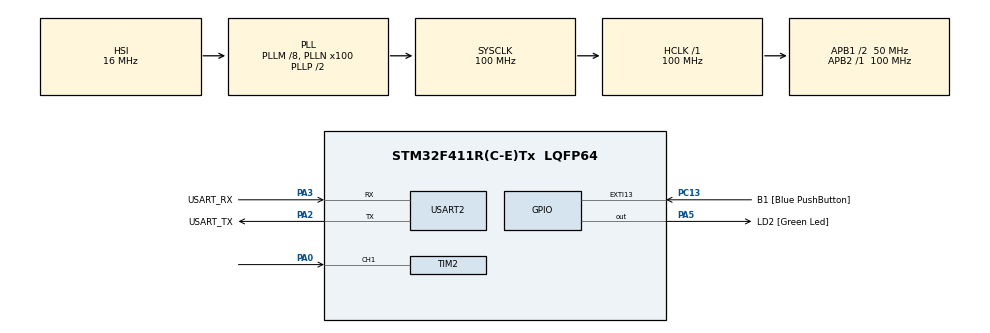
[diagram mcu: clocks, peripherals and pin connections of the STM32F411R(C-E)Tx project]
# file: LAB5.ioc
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Dma.Request0=TIM2_CH1
Dma.TIM2_CH1.0.Direction=DMA_PERIPH_TO_MEMORY
Dma.TIM2_CH1.0.FIFOMode=DMA_FIFOMODE_DISABLE
Dma.TIM2_CH1.0.Instance=DMA1_Stream5
Dma.TIM2_CH1.0.MemDataAlignment=DMA_MDATAALIGN_HALFWORD
Dma.TIM2_CH1.0.MemInc=DMA_MINC_ENABLE
Dma.TIM2_CH1.0.Mode=DMA_CIRCULAR
Dma.TIM2_CH1.0.PeriphDataAlignment=DMA_PDATAALIGN_HALFWORD
Dma.TIM2_CH1.0.PeriphInc=DMA_PINC_DISABLE
Dma.TIM2_CH1.0.Priority=DMA_PRIORITY_LOW
Mcu.Family=STM32F4
Mcu.Name=STM32F411R(C-E)Tx
Mcu.Package=LQFP64
NVIC.DMA1_Stream5_IRQn=true\:0\:0\:false\:false\:true\:false\:true
NVIC.PriorityGroup=NVIC_PRIORITYGROUP_0
NVIC.TIM5_IRQn=true\:0\:0\:false\:false\:true\:true\:true
PA0-WKUP.Signal=S_TIM2_CH1_ETR
PA13.GPIO_Label=TMS
PA13.Mode=Serial_Wire
PA13.Signal=SYS_JTMS-SWDIO
PA14.GPIO_Label=TCK
PA14.Mode=Serial_Wire
PA14.Signal=SYS_JTCK-SWCLK
PA2.GPIO_Label=USART_TX
PA2.Mode=Asynchronous
PA2.Signal=USART2_TX
PA3.GPIO_Label=USART_RX
PA3.Mode=Asynchronous
PA3.Signal=USART2_RX
PA5.GPIO_Label=LD2 [Green Led]
PA5.Signal=GPIO_Output
PB3.GPIO_Label=SWO
PB3.Signal=SYS_JTDO-SWO
PC13-ANTI_TAMP.GPIO_Label=B1 [Blue PushButton]
PC13-ANTI_TAMP.GPIO_ModeDefaultEXTI=GPIO_MODE_IT_FALLING
PC13-ANTI_TAMP.Signal=GPXTI13
PC14-OSC32_IN.Mode=LSE-External-Oscillator
PC14-OSC32_IN.Signal=RCC_OSC32_IN
PC15-OSC32_OUT.Mode=LSE-External-Oscillator
PC15-OSC32_OUT.Signal=RCC_OSC32_OUT
PH0\ -\ OSC_IN.Mode=HSE-External-Clock-Source
PH0\ -\ OSC_IN.Signal=RCC_OSC_IN
PH1\ -\ OSC_OUT.Mode=HSE-External-Clock-Source
PH1\ -\ OSC_OUT.Signal=RCC_OSC_OUT
ProjectManager.HeapSize=0x200
ProjectManager.StackSize=0x400
ProjectManager.TargetToolchain=STM32CubeIDE
RCC.48MHZClocksFreq_Value=50000000
RCC.AHBFreq_Value=100000000
RCC.APB1CLKDivider=RCC_HCLK_DIV2
RCC.APB1Freq_Value=50000000
RCC.APB1TimFreq_Value=100000000
RCC.APB2Freq_Value=100000000
RCC.APB2TimFreq_Value=100000000
RCC.CortexFreq_Value=100000000
RCC.FLatency-AdvancedSettings=FLASH_LATENCY_3
RCC.HCLKFreq_Value=100000000
RCC.HSE_VALUE=8000000
RCC.HSI_VALUE=16000000
RCC.PLLM=8
RCC.PLLN=100
RCC.SYSCLKFreq_VALUE=100000000
RCC.SYSCLKSource=RCC_SYSCLKSOURCE_PLLCLK
RCC.VCOOutputFreq_Value=200000000
SH.S_TIM2_CH1_ETR.0=TIM2_CH1,Input_Capture1_from_TI1
TIM2.Channel-Input_Capture1_from_TI1=TIM_CHANNEL_1
TIM2.ICFilter_CH1=2
TIM2.Prescaler=99
TIM5.Prescaler=99
USART2.VirtualMode=VM_ASYNC
VP_TIM2_VS_ClockSourceINT.Mode=Internal
VP_TIM5_VS_ClockSourceINT.Mode=Internal
board=NUCLEO-F411RE

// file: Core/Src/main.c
/* USER CODE BEGIN Header */
/**
  ******************************************************************************
  * @file           : main.c
  * @brief          : Main program body
  ******************************************************************************
  * @attention
  *
  * <h2><center>&copy; Copyright (c) 2021 STMicroelectronics.
  * All rights reserved.</center></h2>
  *
  * This software component is licensed by ST under BSD 3-Clause license,
  * the "License"; You may not use this file except in compliance with the
  * License. You may obtain a copy of the License at:
  *                        opensource.org/licenses/BSD-3-Clause
  *
  ******************************************************************************
  */
/* USER CODE END Header */
#include "main.h"

/* USER CODE BEGIN PD */
#define CAPTURENUM 16

/* USER CODE END PD */

TIM_HandleTypeDef htim2;
TIM_HandleTypeDef htim5;
DMA_HandleTypeDef hdma_tim2_ch1;

UART_HandleTypeDef huart2;

/* USER CODE BEGIN PV */
uint16_t capturedata[CAPTURENUM] = { 0 };
//diff time of capture data
int32_t DiffTime[CAPTURENUM-1] = { 0 };
uint32_t DiffTime2[CAPTURENUM-1] = { 0 } ;

//Mean difftime
double MeanTime =0;
int RPM = 0 ;
int64_t A = 0 ;
uint16_t RPM2 = 0 ;

uint64_t _micros = 0 ;

/* USER CODE END PV */

void SystemClock_Config(void);
static void MX_GPIO_Init(void);
static void MX_DMA_Init(void);
static void MX_USART2_UART_Init(void);
static void MX_TIM2_Init(void);
static void MX_TIM5_Init(void);
/* USER CODE BEGIN PFP */

void read_RPM();
void reard_RPM2() ;
void encoderSpeedReaderCycle();
uint64_t micros();

/* USER CODE END PFP */

int main(void)
{

  /* MCU Configuration--------------------------------------------------------*/

  /* Reset of all peripherals, Initializes the Flash interface and the Systick. */
  HAL_Init();

  /* Configure the system clock */
  SystemClock_Config();

  /* Initialize all configured peripherals */
  MX_GPIO_Init();
  MX_DMA_Init();
  MX_USART2_UART_Init();
  MX_TIM2_Init();
  MX_TIM5_Init();
  /* USER CODE BEGIN 2 */
  HAL_TIM_Base_Start_IT(&htim5);

  HAL_TIM_Base_Start(&htim2);
  HAL_TIM_IC_Start_DMA(&htim2, TIM_CHANNEL_1,(uint32_t*) &capturedata, CAPTURENUM);

  uint64_t timestamp =0;
  /* USER CODE END 2 */

  /* Infinite loop */
  /* USER CODE BEGIN WHILE */
  while (1)
  {
	encoderSpeedReaderCycle();
	read_RPM();

	if(micros()-timestamp > 100000)
	{
	timestamp = micros();
	HAL_GPIO_TogglePin(LD2_GPIO_Port,LD2_Pin);
	}
    /* USER CODE END WHILE */

  }
}

void SystemClock_Config(void)
{
  RCC_OscInitTypeDef RCC_OscInitStruct = {0};
  RCC_ClkInitTypeDef RCC_ClkInitStruct = {0};

  /** Configure the main internal regulator output voltage
  */
  __HAL_RCC_PWR_CLK_ENABLE();
  __HAL_PWR_VOLTAGESCALING_CONFIG(PWR_REGULATOR_VOLTAGE_SCALE1);
  /** Initializes the RCC Oscillators according to the specified parameters
  * in the RCC_OscInitTypeDef structure.
  */
  RCC_OscInitStruct.OscillatorType = RCC_OSCILLATORTYPE_HSI;
  RCC_OscInitStruct.HSIState = RCC_HSI_ON;
  RCC_OscInitStruct.HSICalibrationValue = RCC_HSICALIBRATION_DEFAULT;
  RCC_OscInitStruct.PLL.PLLState = RCC_PLL_ON;
  RCC_OscInitStruct.PLL.PLLSource = RCC_PLLSOURCE_HSI;
  RCC_OscInitStruct.PLL.PLLM = 8;
  RCC_OscInitStruct.PLL.PLLN = 100;
  RCC_OscInitStruct.PLL.PLLP = RCC_PLLP_DIV2;
  RCC_OscInitStruct.PLL.PLLQ = 4;
  if (HAL_RCC_OscConfig(&RCC_OscInitStruct) != HAL_OK)
  {
    Error_Handler();
  }
  /** Initializes the CPU, AHB and APB buses clocks
  */
  RCC_ClkInitStruct.ClockType = RCC_CLOCKTYPE_HCLK|RCC_CLOCKTYPE_SYSCLK
                              |RCC_CLOCKTYPE_PCLK1|RCC_CLOCKTYPE_PCLK2;
  RCC_ClkInitStruct.SYSCLKSource = RCC_SYSCLKSOURCE_PLLCLK;
  RCC_ClkInitStruct.AHBCLKDivider = RCC_SYSCLK_DIV1;
  RCC_ClkInitStruct.APB1CLKDivider = RCC_HCLK_DIV2;
  RCC_ClkInitStruct.APB2CLKDivider = RCC_HCLK_DIV1;

  if (HAL_RCC_ClockConfig(&RCC_ClkInitStruct, FLASH_LATENCY_3) != HAL_OK)
  {
    Error_Handler();
  }
}

static void MX_TIM2_Init(void)
{

  TIM_ClockConfigTypeDef sClockSourceConfig = {0};
  TIM_MasterConfigTypeDef sMasterConfig = {0};
  TIM_IC_InitTypeDef sConfigIC = {0};

  htim2.Instance = TIM2;
  htim2.Init.Prescaler = 99;
  htim2.Init.CounterMode = TIM_COUNTERMODE_UP;
  htim2.Init.Period = 4294967295;
  htim2.Init.ClockDivision = TIM_CLOCKDIVISION_DIV1;
  htim2.Init.AutoReloadPreload = TIM_AUTORELOAD_PRELOAD_DISABLE;
  if (HAL_TIM_Base_Init(&htim2) != HAL_OK)
  {
    Error_Handler();
  }
  sClockSourceConfig.ClockSource = TIM_CLOCKSOURCE_INTERNAL;
  if (HAL_TIM_ConfigClockSource(&htim2, &sClockSourceConfig) != HAL_OK)
  {
    Error_Handler();
  }
  if (HAL_TIM_IC_Init(&htim2) != HAL_OK)
  {
    Error_Handler();
  }
  sMasterConfig.MasterOutputTrigger = TIM_TRGO_RESET;
  sMasterConfig.MasterSlaveMode = TIM_MASTERSLAVEMODE_DISABLE;
  if (HAL_TIMEx_MasterConfigSynchronization(&htim2, &sMasterConfig) != HAL_OK)
  {
    Error_Handler();
  }
  sConfigIC.ICPolarity = TIM_INPUTCHANNELPOLARITY_RISING;
  sConfigIC.ICSelection = TIM_ICSELECTION_DIRECTTI;
  sConfigIC.ICPrescaler = TIM_ICPSC_DIV1;
  sConfigIC.ICFilter = 2;
  if (HAL_TIM_IC_ConfigChannel(&htim2, &sConfigIC, TIM_CHANNEL_1) != HAL_OK)
  {
    Error_Handler();
  }

}

static void MX_TIM5_Init(void)
{

  TIM_ClockConfigTypeDef sClockSourceConfig = {0};
  TIM_MasterConfigTypeDef sMasterConfig = {0};

  htim5.Instance = TIM5;
  htim5.Init.Prescaler = 99;
  htim5.Init.CounterMode = TIM_COUNTERMODE_UP;
  htim5.Init.Period = 4294967295;
  htim5.Init.ClockDivision = TIM_CLOCKDIVISION_DIV1;
  htim5.Init.AutoReloadPreload = TIM_AUTORELOAD_PRELOAD_DISABLE;
  if (HAL_TIM_Base_Init(&htim5) != HAL_OK)
  {
    Error_Handler();
  }
  sClockSourceConfig.ClockSource = TIM_CLOCKSOURCE_INTERNAL;
  if (HAL_TIM_ConfigClockSource(&htim5, &sClockSourceConfig) != HAL_OK)
  {
    Error_Handler();
  }
  sMasterConfig.MasterOutputTrigger = TIM_TRGO_RESET;
  sMasterConfig.MasterSlaveMode = TIM_MASTERSLAVEMODE_DISABLE;
  if (HAL_TIMEx_MasterConfigSynchronization(&htim5, &sMasterConfig) != HAL_OK)
  {
    Error_Handler();
  }

}

static void MX_USART2_UART_Init(void)
{

  huart2.Instance = USART2;
  huart2.Init.BaudRate = 115200;
  huart2.Init.WordLength = UART_WORDLENGTH_8B;
  huart2.Init.StopBits = UART_STOPBITS_1;
  huart2.Init.Parity = UART_PARITY_NONE;
  huart2.Init.Mode = UART_MODE_TX_RX;
  huart2.Init.HwFlowCtl = UART_HWCONTROL_NONE;
  huart2.Init.OverSampling = UART_OVERSAMPLING_16;
  if (HAL_UART_Init(&huart2) != HAL_OK)
  {
    Error_Handler();
  }

}

static void MX_DMA_Init(void)
{

  /* DMA controller clock enable */
  __HAL_RCC_DMA1_CLK_ENABLE();

  /* DMA interrupt init */
  /* DMA1_Stream5_IRQn interrupt configuration */
  HAL_NVIC_SetPriority(DMA1_Stream5_IRQn, 0, 0);
  HAL_NVIC_EnableIRQ(DMA1_Stream5_IRQn);

}

static void MX_GPIO_Init(void)
{
  GPIO_InitTypeDef GPIO_InitStruct = {0};

  /* GPIO Ports Clock Enable */
  __HAL_RCC_GPIOC_CLK_ENABLE();
  __HAL_RCC_GPIOH_CLK_ENABLE();
  __HAL_RCC_GPIOA_CLK_ENABLE();
  __HAL_RCC_GPIOB_CLK_ENABLE();

  /*Configure GPIO pin Output Level */
  HAL_GPIO_WritePin(LD2_GPIO_Port, LD2_Pin, GPIO_PIN_RESET);

  /*Configure GPIO pin : B1_Pin */
  GPIO_InitStruct.Pin = B1_Pin;
  GPIO_InitStruct.Mode = GPIO_MODE_IT_FALLING;
  GPIO_InitStruct.Pull = GPIO_NOPULL;
  HAL_GPIO_Init(B1_GPIO_Port, &GPIO_InitStruct);

  /*Configure GPIO pin : LD2_Pin */
  GPIO_InitStruct.Pin = LD2_Pin;
  GPIO_InitStruct.Mode = GPIO_MODE_OUTPUT_PP;
  GPIO_InitStruct.Pull = GPIO_NOPULL;
  GPIO_InitStruct.Speed = GPIO_SPEED_FREQ_LOW;
  HAL_GPIO_Init(LD2_GPIO_Port, &GPIO_InitStruct);

}

/* USER CODE BEGIN 4 */

//void reard_RPM2()
//{
//	double A = 1/64 ;
//	double B = 12*10^-6 ;
//	RPM2 = (((MeanTime*60)/B)*A);
//}
void read_RPM()
{
	//uint32_t T = 0 ;
	//uint32_t f = 0 ;
	//int PPR = 12*64 ;
	double T = MeanTime * (0.000001) ; //sec
	double f = 1/T ;
	RPM = (f*60)/(12*64) ;

}

void encoderSpeedReaderCycle() {
	//get DMA Position form number of data
	uint32_t CapPos =CAPTURENUM -  __HAL_DMA_GET_COUNTER(htim2.hdma[TIM_DMA_ID_CC1]);
	int32_t sum = 0 ;

	//calculate diff from all buffer
	for(register int i=0 ;i < CAPTURENUM-1;i++)
	{
		DiffTime[i]  = capturedata[(CapPos+1+i)%CAPTURENUM]-capturedata[(CapPos+i)%CAPTURENUM];
		//time never go back, but timer can over flow , conpensate that
		if (DiffTime[i] <0)
		{
			DiffTime[i]=  DiffTime[i] + 4294967295;
		}
		//Sum all 15 Diff
		sum += DiffTime[i];

	}

	//mean all 15 Diff
	MeanTime =sum / (double)(CAPTURENUM-1);
	if(MeanTime < 0 )
	{
		MeanTime = MeanTime *(-1);
	}

}

uint64_t micros()
{
	return _micros + htim5.Instance->CNT;
}
void HAL_TIM_PeriodElapsedCallback(TIM_HandleTypeDef *htim)
{
 if(htim == &htim5)
 {
	 _micros += 4294967295;
 }
}
/* USER CODE END 4 */

void Error_Handler(void)
{
  __disable_irq();
  while (1)
  {
  }
}

/************************ (C) COPYRIGHT STMicroelectronics *****END OF FILE****/
